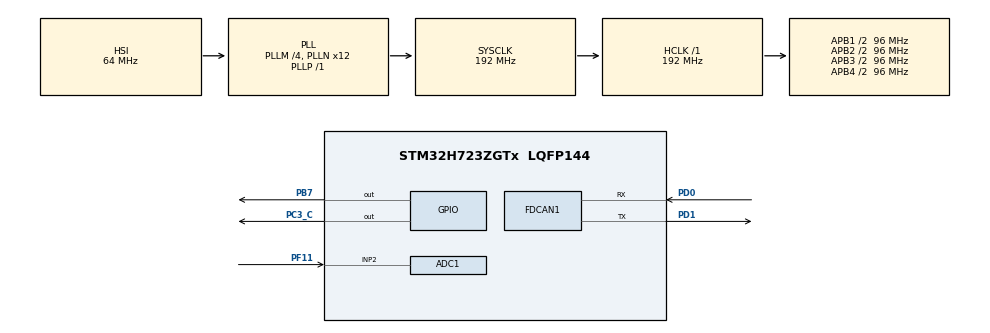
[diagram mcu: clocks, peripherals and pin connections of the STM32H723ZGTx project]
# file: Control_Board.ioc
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ADC1.Channel-0\#ChannelRegularConversion=ADC_CHANNEL_2
ADC1.NbrOfConversionFlag=1
ADC1.OffsetNumber-0\#ChannelRegularConversion=ADC_OFFSET_NONE
ADC1.OffsetSignedSaturation-0\#ChannelRegularConversion=DISABLE
ADC1.Rank-0\#ChannelRegularConversion=1
ADC1.SamplingTime-0\#ChannelRegularConversion=ADC_SAMPLETIME_64CYCLES_5
ADC1.master=1
CORTEX_M7.default_mode_Activation=1
FDCAN1.AutoRetransmission=ENABLE
FDCAN1.CalculateBaudRateNominal=250000
FDCAN1.CalculateTimeBitNominal=4000
FDCAN1.CalculateTimeQuantumNominal=166.66666666666666
FDCAN1.Mode=FDCAN_MODE_INTERNAL_LOOPBACK
FDCAN1.NominalTimeSeg1=20
FDCAN1.NominalTimeSeg2=3
FDCAN1.RxFifo0ElmtsNbr=6
FDCAN1.RxFifo1ElmtsNbr=6
FDCAN1.StdFiltersNbr=2
FDCAN1.TxFifoQueueElmtsNbr=32
FREERTOS.Queues01=CANRxQueue,16,CANRxMessage,0,Dynamic,NULL,NULL;DisplayDataQueue,16,CANRxMessage,0,Dynamic,NULL,NULL;processCAN,16,CANRxMessage,0,Dynamic,NULL,NULL
FREERTOS.Tasks01=PedalControl,41,128,ControlPedal,Default,NULL,Dynamic,NULL,NULL;CANWatchdog,41,128,StartCANWatchdog,Default,NULL,Dynamic,NULL,NULL;APPSCalibration,24,128,StartAPPSCalibration,Default,NULL,Dynamic,NULL,NULL;TestCANSend,24,128,StartTestCANSend,Default,NULL,Dynamic,NULL,NULL;DataDisplay,16,128,StartDataDisplay,Default,NULL,Dynamic,NULL,NULL;Commands,16,128,StartCommands,Default,NULL,Dynamic,NULL,NULL;readCANRX,16,128,StartReadingCANRX,Default,NULL,Dynamic,NULL,NULL;pedalErrorCheck,40,128,StartPedalErrorCheck,Default,NULL,Dynamic,NULL,NULL
FREERTOS.configUSE_NEWLIB_REENTRANT=1
Mcu.Family=STM32H7
Mcu.Name=STM32H723ZGTx
Mcu.Package=LQFP144
NUCLEO-H723ZG.LD1=true
NUCLEO-H723ZG.LD2=true
NUCLEO-H723ZG.LD3=true
NUCLEO-H723ZG.VCP=true
NVIC.FDCAN1_IT0_IRQn=true\:5\:0\:false\:false\:true\:true\:true\:true\:true
NVIC.FDCAN1_IT1_IRQn=true\:5\:0\:false\:false\:true\:true\:true\:true\:true
NVIC.PriorityGroup=NVIC_PRIORITYGROUP_4
NVIC.TIM6_DAC_IRQn=true\:15\:0\:false\:false\:true\:false\:false\:true\:true
NVIC.TimeBase=TIM6_DAC_IRQn
NVIC.TimeBaseIP=TIM6
PA13(JTMS/SWDIO).GPIO_Label=SWDIO
PA13(JTMS/SWDIO).Signal=DEBUG_JTMS-SWDIO
PA14(JTCK/SWCLK).GPIO_Label=SWCLK
PA14(JTCK/SWCLK).Signal=DEBUG_JTCK-SWCLK
PB7.Signal=GPIO_Output
PC14-OSC32_IN.Signal=RCC_OSC32_IN
PC15-OSC32_OUT.Signal=RCC_OSC32_OUT
PC3_C.Signal=GPIO_Output
PD0.GPIO_Mode=GPIO_MODE_AF_PP
PD0.GPIO_PuPd=GPIO_NOPULL
PD0.GPIO_Speed=GPIO_SPEED_FREQ_MEDIUM
PD0.Mode=FDCAN_Activate
PD0.Signal=FDCAN1_RX
PD1.GPIO_Speed=GPIO_SPEED_FREQ_MEDIUM
PD1.Mode=FDCAN_Activate
PD1.Signal=FDCAN1_TX
PF11.Mode=IN2-Single-Ended
PF11.Signal=ADC1_INP2
ProjectManager.HeapSize=0x200
ProjectManager.StackSize=0x400
ProjectManager.TargetToolchain=STM32CubeIDE
RCC.ADCFreq_Value=96000000
RCC.APB1Freq_Value=96000000
RCC.APB2Freq_Value=96000000
RCC.APB3Freq_Value=96000000
RCC.APB4Freq_Value=96000000
RCC.CortexFreq_Value=192000000
RCC.D1PPRE=RCC_APB3_DIV2
RCC.D2PPRE1=RCC_APB1_DIV2
RCC.D2PPRE2=RCC_APB2_DIV2
RCC.D3PPRE=RCC_APB4_DIV2
RCC.DIVM1=4
RCC.DIVM2=4
RCC.DIVN1=12
RCC.DIVN2=12
RCC.DIVP1=1
RCC.HCLKFreq_Value=192000000
RCC.HSE_VALUE=8000000
RCC.PLL2FRACN=0
RCC.PLLFRACN=0
RCC.SYSCLKFreq_VALUE=192000000
RCC.SYSCLKSource=RCC_SYSCLKSOURCE_PLLCLK
RCC.USBCLockSelection=RCC_USBCLKSOURCE_HSI48
RCC.USBFreq_Value=48000000
VP_FREERTOS_VS_CMSIS_V2.Mode=CMSIS_V2
VP_MEMORYMAP_VS_MEMORYMAP.Mode=CurAppReg
VP_NUCLEO-H723ZG_VS_BSP_COMMON.Mode=COMMON
VP_SYS_VS_tim6.Mode=TIM6
board=NUCLEO-H723ZG

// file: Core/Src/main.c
/* USER CODE BEGIN Header */
/**
  ******************************************************************************
  * @file           : main.c
  * @brief          : Main program body
  ******************************************************************************
  * @attention
  *
  * Copyright (c) 2026 STMicroelectronics.
  * All rights reserved.
  *
  * This software is licensed under terms that can be found in the LICENSE file
  * in the root directory of this software component.
  * If no LICENSE file comes with this software, it is provided AS-IS.
  *
  ******************************************************************************
  */
/* USER CODE END Header */
#include "main.h"
#include "FreeRTOS.h"
#include "cmsis_os2.h"

/* USER CODE BEGIN Includes */

#include <stdio.h>
#include <string.h>
#include <ctype.h>
#include <stdlib.h>

/* USER CODE END Includes */

/* USER CODE BEGIN PD */

//#define DISPLAY_CAN_MESSAGE 1			// Turn this on/off if you want to print/ignore raw CAN Messages
//#define DISPLAY_CAN_ERRORS 1			// Turn this on/off if you want to print/ignore CAN Errors

// Pedal Calibration Inversion Constants
#define  InvertAnalogOnePedal 0 // Swap the max and min pedal voltages on analog line one
#define  InvertAnalogTwoPedal 0 // Swap the max and min pedal voltages on analog line two

/*
 * Two-board CAN bench test.
 * Build once with role CONTROLLER for STM #1, then change to DUMMY for STM #2.
 * Set CAN_BENCH_TEST to 0 to restore the original production task startup.
 */
#define CAN_BENCH_TEST              1
#define CAN_BENCH_ROLE_CONTROLLER   1
#define CAN_BENCH_ROLE_DUMMY        2
#define CAN_BENCH_ROLE              CAN_BENCH_ROLE_CONTROLLER

#define CAN_BENCH_UART_LINE_SIZE    32U
#define CAN_BENCH_TX_TIMEOUT_MS     100U
#define CAN_BENCH_RX_TIMEOUT_MS     1000U

#if CAN_BENCH_TEST && \
    (CAN_BENCH_ROLE != CAN_BENCH_ROLE_CONTROLLER) && \
    (CAN_BENCH_ROLE != CAN_BENCH_ROLE_DUMMY)
#error "Invalid CAN_BENCH_ROLE. Use CONTROLLER or DUMMY."
#endif

/* USER CODE END PD */

COM_InitTypeDef BspCOMInit;
ADC_HandleTypeDef hadc1;

FDCAN_HandleTypeDef hfdcan1;

/* Definitions for PedalControl */
osThreadId_t PedalControlHandle;
const osThreadAttr_t PedalControl_attributes = {
  .name = "PedalControl",
  .stack_size = 128 * 4,
  .priority = (osPriority_t) osPriorityNormal,
};
/* Definitions for CANWatchdog */
osThreadId_t CANWatchdogHandle;
const osThreadAttr_t CANWatchdog_attributes = {
  .name = "CANWatchdog",
  .stack_size = 128 * 4,
  .priority = (osPriority_t) osPriorityNormal,
};
/* Definitions for APPSCalibration */
osThreadId_t APPSCalibrationHandle;
const osThreadAttr_t APPSCalibration_attributes = {
  .name = "APPSCalibration",
  .stack_size = 128 * 4,
  .priority = (osPriority_t) osPriorityBelowNormal,
};
/* Definitions for TestCANSend */
osThreadId_t TestCANSendHandle;
const osThreadAttr_t TestCANSend_attributes = {
  .name = "TestCANSend",
  .stack_size = 128 * 4,
  .priority = (osPriority_t) osPriorityNormal,
};
/* Definitions for DataDisplay */
osThreadId_t DataDisplayHandle;
const osThreadAttr_t DataDisplay_attributes = {
  .name = "DataDisplay",
  .stack_size = 128 * 4,
  .priority = (osPriority_t) osPriorityBelowNormal,
};
/* Definitions for Commands */
osThreadId_t CommandsHandle;
const osThreadAttr_t Commands_attributes = {
  .name = "Commands",
  .stack_size = 128 * 4,
  .priority = (osPriority_t) osPriorityBelowNormal,
};
/* Definitions for readCANRX */
osThreadId_t readCANRXHandle;
const osThreadAttr_t readCANRX_attributes = {
  .name = "readCANRX",
  .stack_size = 128 * 4,
  .priority = (osPriority_t) osPriorityBelowNormal,
};

/* Definitions for CANRxQueue */
osMessageQueueId_t CANRxQueueHandle;
const osMessageQueueAttr_t CANRxQueue_attributes = {
  .name = "CANRxQueue"
};
/* Definitions for DisplayDataQueue */
osMessageQueueId_t DisplayDataQueueHandle;
const osMessageQueueAttr_t DisplayDataQueue_attributes = {
  .name = "DisplayDataQueue"
};
/* Definitions for processCAN */
osMessageQueueId_t processCANHandle;
const osMessageQueueAttr_t processCAN_attributes = {
  .name = "processCAN"
};
/* USER CODE BEGIN PV */

uint8_t DISPLAY_CAN_MESSAGE = 1;			// Turn this on/off if you want to print/ignore raw CAN Messages
const osThreadAttr_t CANBench_attributes = {
  .name = "CANBench",
  .stack_size = 1024 * 4,
  .priority = (osPriority_t) osPriorityNormal,
};

uint8_t DISPLAY_CAN_ERRORS = 1;			// Turn this on/off if you want to print/ignore CAN Errors

///////////////////////////////////////////////////////////////////////////////////////////////
//////////////////////////////////// CAN Bus /////////////////////////////////////////////////
/////////////////////////////////////////////////////////////////////////////////////////////

HAL_StatusTypeDef status;
HAL_StatusTypeDef status2;
HAL_StatusTypeDef status3;
uint32_t txFreeLevel; // Space in TX FIFO left
uint32_t fdcanError;

// global var used by many rtos tasks
// risk of race condition
FDCAN_TxHeaderTypeDef TxHeader; // Header containing the information of the transmitted frame
FDCAN_RxHeaderTypeDef RxHeader; // Header containing the information of the received frame

uint8_t TxData[8] = {0}; // Buffer of the data to send (8 bytes data)
uint8_t WatchDogTxData[8] = {9}; // Random Buffer data to simulate messages for Watchdog
uint8_t RxData[8]; // Buffer of the received data (8 bytes data)
uint32_t TxMailbox; // The number of the email box that transmitted the Tx message

uint8_t serialByte; // Rx buffer for data received via USART3/terminal

#if CAN_BENCH_TEST
static char benchUartLine[CAN_BENCH_UART_LINE_SIZE];
static volatile uint8_t benchUartLineIndex = 0;
static volatile uint8_t benchUartLineReady = 0;
static volatile uint8_t benchUartLineOverflow = 0;

typedef enum
{
    BENCH_MODE_NO_MESSAGE = 0,
    BENCH_MODE_NEUTRAL,
    BENCH_MODE_THROTTLE,
    BENCH_MODE_REGEN
} BenchMode;

static volatile BenchMode benchDummyMode = BENCH_MODE_NO_MESSAGE;
static volatile uint16_t benchDummyCommand = 0;
static volatile uint16_t benchDummyLastRxId = 0;
static volatile uint32_t benchDummyLastRxTick = 0;
static volatile uint32_t benchDummyRxCount = 0;
#endif

///////////////////////////////////////////////////////////////////////////////////////////////
//////////////////////////////////// Motor Controller ////////////////////////////////////////
/////////////////////////////////////////////////////////////////////////////////////////////

const uint8_t MC_NodeId = 0x3a; // Node ID of the MC = 58

// MC commands
const uint16_t CMD_SetRelativeCurrent = ((0x05 << 5) + MC_NodeId); // Set relative AC current message ID
const uint16_t CMD_SetRelativeBrakeCurrent = ((0x06 << 5) + MC_NodeId);  // Set relative AC brake current message ID
const uint16_t CMD_SetMaxAcCurrent = ((0x06 << 5) + MC_NodeId); // Set max AC current limit message ID
const uint16_t CMD_SetMaxBrakeCurrent = ((0x09 << 5) + MC_NodeId); // Set max AC brake current limit message ID
const uint16_t CMD_SetMaxDcCurrent = ((0x0A << 5) + MC_NodeId); // Set max DC current limit message ID
const uint16_t CMD_SetMaxDcBrakeCurrent = ((0x0B << 5) + MC_NodeId); // Set max DC brake current limit message ID

// Data from MC
const uint16_t RCV_MC_GeneralData = ((0x1F << 5) + MC_NodeId); // Using | instead of + wouldn't work here bc there would be overlap between the node ID and the packet ID

// AMS Limits
uint16_t DischargeCurrentLimit = 30; // AMS discharge current limit
uint16_t ChargeCurrentLimit = 20; // AMS charge current limit

// Pedal Calibration Constants
float MaxPedalVoltage[2] = {3.3, 3.3}; // Max voltages on both analog lines for the pedal input
float MinPedalVoltage[2] = {0.5, 0.5}; // Min voltages on both analog lines for the pedal input
float CenterPedalVoltage[2] = {2.0, 2.0}; // Center voltages on both analog lines for the pedal input. This voltage corresponds position in which braking/throttle is swapped

float PedalDeadband = 0.15; // Percent deadband of pedal

uint32_t lastThrottleOrBrake = 0; // Gets the time at which a throttle or break CAN message is sent

float testPedalVoltage = 2.5; // temporary test before circuit test implemented
float inputPedalVoltage = 0; // voltage that the APPS is outputting to the STM
char msg[20];
char CANBuffer[100]; // Buffer used to display CAN messages on terminal
uint16_t CalculatedValue; // The value to be sent over to the MC over CAN

///////////////////////////////////////////////////////////////////////////////////////////////
////////////////////////////////////CAN Watchdog /////////////////////////////////////////////
/////////////////////////////////////////////////////////////////////////////////////////////

// Initializes variables to be used to check when the last respective message was sent
// uint32_t lastHeartBeatMessage = 0;
 uint32_t lastTemMessage = 0;
 uint32_t lastAmsMessage = 0;
 uint32_t lastMcMessage = 0;
 uint32_t lastChargerMessage = 0;

 uint8_t temSeen = 0;
 uint8_t amsSeen = 0;
 uint8_t mcSeen = 0;
 uint8_t chargerSeen = 0;

// uint32_t lastMessage = 0;

 // Initializes flags to indicate when a certain ECU hasn't sent a message in 500ms, timing out
// uint8_t heartBeatError = 0;
 uint8_t temError = 0;
 uint8_t amsError = 0;
 uint8_t mcError = 0;
 uint8_t chargerError = 0;

 // Creates int to determine if we are charging or not
 uint8_t isCharging = 0;

///////////////////////////////////////////////////////////////////////////////////////////////
/////////////////////////////////// Message Display //////////////////////////////////////////
/////////////////////////////////////////////////////////////////////////////////////////////

// Toggle between displaying all or select CAN messages
uint8_t toggleCANRx = 0; // 0 = display all messages, 1 = display select messages
uint8_t packet;

///////////////////////////////////////////////////////////////////////////////////////////////
/////////////////////////////////// Queue Debugging //////////////////////////////////////////
/////////////////////////////////////////////////////////////////////////////////////////////

 uint32_t queueCount; // Amount of items in queue
 uint32_t queueSpace; // Amount of available space left in queue
 osStatus_t queueStatus; // Execution status of the queue

/* USER CODE END PV */

void SystemClock_Config(void);
static void MPU_Config(void);
static void MX_GPIO_Init(void);
static void MX_ADC1_Init(void);
static void MX_FDCAN1_Init(void);
void ControlPedal(void *argument);
void StartCANWatchdog(void *argument);
void StartAPPSCalibration(void *argument);
void StartTestCANSend(void *argument);
void StartDataDisplay(void *argument);
void StartCommands(void *argument);
void StartReadingCANRX(void *argument);

/* USER CODE BEGIN PFP */
void StartCANBenchController(void *argument);
void StartCANBenchDummy(void *argument);

// Prototype for CAN Transmission
HAL_StatusTypeDef CAN_Send(uint32_t id, uint8_t *data, uint32_t length);

// Prototype to see if a certain message hasn't been seen in over 500ms
uint8_t lastMessageSent(uint32_t lastMessage);

/* USER CODE END PFP */

/* USER CODE BEGIN 0 */

typedef struct
{
	uint32_t id;
	uint32_t idType;
	uint32_t dataLength;
	uint8_t data[8];

} CANRxMessage;

CANRxMessage queueBufferMessage; // Data being stored in the queue
CANRxMessage queueBufferRecieved; // Data being read from the queue

// System states
typedef enum
{
	PEDAL_CALIBRATION, // Assigned 0
	MOTOR_SPINNING, // Assigned 1
	WATCHDOG_FAULTED // Assigned 2
} State;

volatile State currentState = WATCHDOG_FAULTED; // init at fault on new boot, changed when safety conditions are met

/*  More realistic states for future implementation

typedef enum
{
  STATE_INIT,
  STATE_WAITING_FOR_ECUS,
  STATE_READY,
  STATE_RUNNING,
  STATE_APPS_CALIBRATION,
  STATE_CHARGING,
  STATE_FAULT
} SystemState;

SystemState currentState = STATE_INIT;

// helper function to change state for consistency
void setSysState(SystemState newState){
  currentState = newState;
}

*/

/* USER CODE END 0 */

int main(void)
{

  /* USER CODE BEGIN 1 */

//	HAL_Delay(30000); // Delay for when the car starts up

  /* USER CODE END 1 */

  /* MPU Configuration--------------------------------------------------------*/
  MPU_Config();

  /* MCU Configuration--------------------------------------------------------*/

  /* Reset of all peripherals, Initializes the Flash interface and the Systick. */
  HAL_Init();

  /* Configure the system clock */
  SystemClock_Config();

  /* Initialize all configured peripherals */
  MX_GPIO_Init();
  MX_ADC1_Init();
  MX_FDCAN1_Init();
  /* USER CODE BEGIN 2 */

  HAL_NVIC_SetPriority(USART3_IRQn, 5, 0); // Configures interrupt priority for USART3
  HAL_NVIC_EnableIRQ(USART3_IRQn); // Enables the USART interrupt through NVIC

  /* USER CODE END 2 */

  /* Init scheduler */
  osKernelInitialize();

  /* Create the queue(s) */
  /* creation of CANRxQueue */
  CANRxQueueHandle = osMessageQueueNew (16, sizeof(CANRxMessage), &CANRxQueue_attributes);

  /* creation of DisplayDataQueue */
  DisplayDataQueueHandle = osMessageQueueNew (16, sizeof(CANRxMessage), &DisplayDataQueue_attributes);

  /* creation of processCAN */
  processCANHandle = osMessageQueueNew (16, sizeof(CANRxMessage), &processCAN_attributes);

  /* Create the thread(s) */
#if CAN_BENCH_TEST
  if (CAN_BENCH_ROLE == CAN_BENCH_ROLE_CONTROLLER)
  {
    osThreadNew(StartCANBenchController, NULL, &CANBench_attributes);
  }
  else
  {
    osThreadNew(StartCANBenchDummy, NULL, &CANBench_attributes);
  }
#else
  /* Original production tasks */
  PedalControlHandle = osThreadNew(ControlPedal, NULL, &PedalControl_attributes);
  CANWatchdogHandle = osThreadNew(StartCANWatchdog, NULL, &CANWatchdog_attributes);
  APPSCalibrationHandle = osThreadNew(StartAPPSCalibration, NULL, &APPSCalibration_attributes);
  TestCANSendHandle = osThreadNew(StartTestCANSend, NULL, &TestCANSend_attributes);
  DataDisplayHandle = osThreadNew(StartDataDisplay, NULL, &DataDisplay_attributes);
  CommandsHandle = osThreadNew(StartCommands, NULL, &Commands_attributes);
  readCANRXHandle = osThreadNew(StartReadingCANRX, NULL, &readCANRX_attributes);
#endif

  /* Initialize leds */
  BSP_LED_Init(LED_GREEN);
  BSP_LED_Init(LED_YELLOW);
  BSP_LED_Init(LED_RED);

  /* Initialize COM1 port (115200, 8 bits (7-bit data + 1 stop bit), no parity */
  BspCOMInit.BaudRate   = 115200;
  BspCOMInit.WordLength = COM_WORDLENGTH_8B;
  BspCOMInit.StopBits   = COM_STOPBITS_1;
  BspCOMInit.Parity     = COM_PARITY_NONE;
  BspCOMInit.HwFlowCtl  = COM_HWCONTROL_NONE;
  if (BSP_COM_Init(COM1, &BspCOMInit) != BSP_ERROR_NONE)
  {
    Error_Handler();
  }

#if CAN_BENCH_TEST && (CAN_BENCH_ROLE == CAN_BENCH_ROLE_CONTROLLER)
  if (HAL_UART_Receive_IT(&hcom_uart[COM1], &serialByte, 1) != HAL_OK)
  {
    Error_Handler();
  }
#endif

  /* Start scheduler */
  osKernelStart();

  /* We should never get here as control is now taken by the scheduler */

  /* Infinite loop */
  while (1)
  {

  }
}

void SystemClock_Config(void)
{
  RCC_OscInitTypeDef RCC_OscInitStruct = {0};
  RCC_ClkInitTypeDef RCC_ClkInitStruct = {0};

  /** Supply configuration update enable
  */
  HAL_PWREx_ConfigSupply(PWR_LDO_SUPPLY);

  /** Configure the main internal regulator output voltage
  */
  __HAL_PWR_VOLTAGESCALING_CONFIG(PWR_REGULATOR_VOLTAGE_SCALE1);

  while(!__HAL_PWR_GET_FLAG(PWR_FLAG_VOSRDY)) {}

  /** Initializes the RCC Oscillators according to the specified parameters
  * in the RCC_OscInitTypeDef structure.
  */
  RCC_OscInitStruct.OscillatorType = RCC_OSCILLATORTYPE_HSI;
  RCC_OscInitStruct.HSIState = RCC_HSI_DIV1;
  RCC_OscInitStruct.HSICalibrationValue = 64;
  RCC_OscInitStruct.PLL.PLLState = RCC_PLL_ON;
  RCC_OscInitStruct.PLL.PLLSource = RCC_PLLSOURCE_HSI;
  RCC_OscInitStruct.PLL.PLLM = 4;
  RCC_OscInitStruct.PLL.PLLN = 12;
  RCC_OscInitStruct.PLL.PLLP = 1;
  RCC_OscInitStruct.PLL.PLLQ = 2;
  RCC_OscInitStruct.PLL.PLLR = 2;
  RCC_OscInitStruct.PLL.PLLRGE = RCC_PLL1VCIRANGE_3;
  RCC_OscInitStruct.PLL.PLLVCOSEL = RCC_PLL1VCOWIDE;
  RCC_OscInitStruct.PLL.PLLFRACN = 0;
  if (HAL_RCC_OscConfig(&RCC_OscInitStruct) != HAL_OK)
  {
    Error_Handler();
  }

  /** Initializes the CPU, AHB and APB buses clocks
  */
  RCC_ClkInitStruct.ClockType = RCC_CLOCKTYPE_HCLK|RCC_CLOCKTYPE_SYSCLK
                              |RCC_CLOCKTYPE_PCLK1|RCC_CLOCKTYPE_PCLK2
                              |RCC_CLOCKTYPE_D3PCLK1|RCC_CLOCKTYPE_D1PCLK1;
  RCC_ClkInitStruct.SYSCLKSource = RCC_SYSCLKSOURCE_PLLCLK;
  RCC_ClkInitStruct.SYSCLKDivider = RCC_SYSCLK_DIV1;
  RCC_ClkInitStruct.AHBCLKDivider = RCC_HCLK_DIV1;
  RCC_ClkInitStruct.APB3CLKDivider = RCC_APB3_DIV2;
  RCC_ClkInitStruct.APB1CLKDivider = RCC_APB1_DIV2;
  RCC_ClkInitStruct.APB2CLKDivider = RCC_APB2_DIV2;
  RCC_ClkInitStruct.APB4CLKDivider = RCC_APB4_DIV2;

  if (HAL_RCC_ClockConfig(&RCC_ClkInitStruct, FLASH_LATENCY_2) != HAL_OK)
  {
    Error_Handler();
  }
}

static void MX_ADC1_Init(void)
{

  ADC_MultiModeTypeDef multimode = {0};
  ADC_ChannelConfTypeDef sConfig = {0};

  /** Common config
  */
  hadc1.Instance = ADC1;
  hadc1.Init.ClockPrescaler = ADC_CLOCK_ASYNC_DIV1;
  hadc1.Init.Resolution = ADC_RESOLUTION_16B;
  hadc1.Init.ScanConvMode = ADC_SCAN_DISABLE;
  hadc1.Init.EOCSelection = ADC_EOC_SINGLE_CONV;
  hadc1.Init.LowPowerAutoWait = DISABLE;
  hadc1.Init.ContinuousConvMode = DISABLE;
  hadc1.Init.NbrOfConversion = 1;
  hadc1.Init.DiscontinuousConvMode = DISABLE;
  hadc1.Init.ExternalTrigConv = ADC_SOFTWARE_START;
  hadc1.Init.ExternalTrigConvEdge = ADC_EXTERNALTRIGCONVEDGE_NONE;
  hadc1.Init.ConversionDataManagement = ADC_CONVERSIONDATA_DR;
  hadc1.Init.Overrun = ADC_OVR_DATA_PRESERVED;
  hadc1.Init.LeftBitShift = ADC_LEFTBITSHIFT_NONE;
  hadc1.Init.OversamplingMode = DISABLE;
  hadc1.Init.Oversampling.Ratio = 1;
  if (HAL_ADC_Init(&hadc1) != HAL_OK)
  {
    Error_Handler();
  }

  /** Configure the ADC multi-mode
  */
  multimode.Mode = ADC_MODE_INDEPENDENT;
  if (HAL_ADCEx_MultiModeConfigChannel(&hadc1, &multimode) != HAL_OK)
  {
    Error_Handler();
  }

  /** Configure Regular Channel
  */
  sConfig.Channel = ADC_CHANNEL_2;
  sConfig.Rank = ADC_REGULAR_RANK_1;
  sConfig.SamplingTime = ADC_SAMPLETIME_64CYCLES_5;
  sConfig.SingleDiff = ADC_SINGLE_ENDED;
  sConfig.OffsetNumber = ADC_OFFSET_NONE;
  sConfig.Offset = 0;
  sConfig.OffsetSignedSaturation = DISABLE;
  if (HAL_ADC_ConfigChannel(&hadc1, &sConfig) != HAL_OK)
  {
    Error_Handler();
  }

}

static void MX_FDCAN1_Init(void)
{

  /* USER CODE BEGIN FDCAN1_Init 0 */

	FDCAN_FilterTypeDef filter = {0}; // Declares filter

  /* USER CODE END FDCAN1_Init 0 */

  hfdcan1.Instance = FDCAN1;
  hfdcan1.Init.FrameFormat = FDCAN_FRAME_CLASSIC;
  hfdcan1.Init.Mode = FDCAN_MODE_NORMAL;
  hfdcan1.Init.AutoRetransmission = ENABLE;
  hfdcan1.Init.TransmitPause = DISABLE;
  hfdcan1.Init.ProtocolException = DISABLE;
  hfdcan1.Init.NominalPrescaler = 16;
  hfdcan1.Init.NominalSyncJumpWidth = 1;
  hfdcan1.Init.NominalTimeSeg1 = 20;
  hfdcan1.Init.NominalTimeSeg2 = 3;
  hfdcan1.Init.DataPrescaler = 1;
  hfdcan1.Init.DataSyncJumpWidth = 1;
  hfdcan1.Init.DataTimeSeg1 = 1;
  hfdcan1.Init.DataTimeSeg2 = 1;
  hfdcan1.Init.MessageRAMOffset = 0;
  hfdcan1.Init.StdFiltersNbr = 2;
  hfdcan1.Init.ExtFiltersNbr = 0;
  hfdcan1.Init.RxFifo0ElmtsNbr = 6;
  hfdcan1.Init.RxFifo0ElmtSize = FDCAN_DATA_BYTES_8;
  hfdcan1.Init.RxFifo1ElmtsNbr = 6;
  hfdcan1.Init.RxFifo1ElmtSize = FDCAN_DATA_BYTES_8;
  hfdcan1.Init.RxBuffersNbr = 0;
  hfdcan1.Init.RxBufferSize = FDCAN_DATA_BYTES_8;
  hfdcan1.Init.TxEventsNbr = 0;
  hfdcan1.Init.TxBuffersNbr = 0;
  hfdcan1.Init.TxFifoQueueElmtsNbr = 6;
  hfdcan1.Init.TxFifoQueueMode = FDCAN_TX_FIFO_OPERATION;
  hfdcan1.Init.TxElmtSize = FDCAN_DATA_BYTES_8;
  if (HAL_FDCAN_Init(&hfdcan1) != HAL_OK)
  {
    Error_Handler();
  }
  /* USER CODE BEGIN FDCAN1_Init 2 */

  // Sets up filters for CAN messages;
  // Filter One
  // Allows all messages to pass

	  filter.IdType = FDCAN_STANDARD_ID;          // Apply this filter to 11-bit Standard IDs
	  filter.FilterIndex = 0;                     // First slot in the filter list (0 to 27)
	  filter.FilterType = FDCAN_FILTER_MASK;      // Classic ID + Mask mode (replaces CAN_FILTERMODE_IDMASK)
	  filter.FilterConfig = FDCAN_FILTER_TO_RXFIFO0; // Route matching packets directly to FIFO0
	  filter.FilterID1 = 0x0000;                  // Base ID to match (accept all if 0)
	  filter.FilterID2 = 0x0000;                  // Mask value (0x0000 means "don't care", accepting all packets)

      if (HAL_FDCAN_ConfigFilter(&hfdcan1, &filter) != HAL_OK) // checks to see if filter is configured correctly
      {
    	  // Filter configuration error
    	  Error_Handler();
      }

  // Filter Two
  // Allows only MC messages to pass

//	  filter.IdType = FDCAN_STANDARD_ID;          // Apply this filter to 11-bit Standard IDs
//	  filter.FilterIndex = 1;                     // Second slot in the filter list (0 to 27)
//	  filter.FilterType = FDCAN_FILTER_MASK;      // Classic ID + Mask mode (replaces CAN_FILTERMODE_IDMASK)
//	  filter.FilterConfig = FDCAN_FILTER_TO_RXFIFO1; // Route matching packets directly to FIFO1
//	  filter.FilterID1 = MC_NodeId;                  // Only allows MC node IDs to pass
//	  filter.FilterID2 = 0x0FF;                  // Matches the lower 8 bits to find the MC_NodeId

//	  if (HAL_FDCAN_ConfigFilter(&hfdcan1, &filter) != HAL_OK) // checks to see if filter is configured correctly
//      {
//    	  // Filter configuration error
//    	  Error_Handler();
//      }

      // Starts CAN peripheral if filter config is good
      if (HAL_FDCAN_Start(&hfdcan1) != HAL_OK) // Tries to start CAN and checks for error
      {
    	  Error_Handler();
      }

      // Activate CAN RX notifications on FIFO0
      if (HAL_FDCAN_ActivateNotification(&hfdcan1, FDCAN_IT_RX_FIFO0_NEW_MESSAGE, 0) != HAL_OK) // 0 means it only focuses on Rx interrupts
      {
    	  Error_Handler();
      }

      // Activate CAN RX notifications on FIFO1
//      if (HAL_FDCAN_ActivateNotification(&hfdcan1, FDCAN_IT_RX_FIFO1_NEW_MESSAGE, 0) != HAL_OK) // 0 means it only focuses on Rx interrupts
//      {
//    	  Error_Handler();
//      }

      TxData[0] = 0;
      TxData[7] = 0xFF;

  /* USER CODE END FDCAN1_Init 2 */

}

static void MX_GPIO_Init(void)
{
  GPIO_InitTypeDef GPIO_InitStruct = {0};

  /* GPIO Ports Clock Enable */
  __HAL_RCC_GPIOC_CLK_ENABLE();
  __HAL_RCC_GPIOF_CLK_ENABLE();
  __HAL_RCC_GPIOA_CLK_ENABLE();
  __HAL_RCC_GPIOB_CLK_ENABLE();

  /*Configure GPIO pin Output Level */
  HAL_GPIO_WritePin(GPIOC, GPIO_PIN_3, GPIO_PIN_RESET);

  /*Configure GPIO pin Output Level */
  HAL_GPIO_WritePin(GPIOB, GPIO_PIN_7, GPIO_PIN_RESET);

  /*Configure GPIO pin : PC3 */
  GPIO_InitStruct.Pin = GPIO_PIN_3;
  GPIO_InitStruct.Mode = GPIO_MODE_OUTPUT_PP;
  GPIO_InitStruct.Pull = GPIO_NOPULL;
  GPIO_InitStruct.Speed = GPIO_SPEED_FREQ_LOW;
  HAL_GPIO_Init(GPIOC, &GPIO_InitStruct);

  /*Configure GPIO pin : PB7 */
  GPIO_InitStruct.Pin = GPIO_PIN_7;
  GPIO_InitStruct.Mode = GPIO_MODE_OUTPUT_PP;
  GPIO_InitStruct.Pull = GPIO_NOPULL;
  GPIO_InitStruct.Speed = GPIO_SPEED_FREQ_LOW;
  HAL_GPIO_Init(GPIOB, &GPIO_InitStruct);

  /*AnalogSwitch Config */
  HAL_SYSCFG_AnalogSwitchConfig(SYSCFG_SWITCH_PC3, SYSCFG_SWITCH_PC3_CLOSE);

}

/* USER CODE BEGIN 4 */

// UART receive callback. Keep this short: parsing and printf happen in the task.
void HAL_UART_RxCpltCallback(UART_HandleTypeDef *huart)
{
#if CAN_BENCH_TEST && (CAN_BENCH_ROLE == CAN_BENCH_ROLE_CONTROLLER)
    if (huart == &hcom_uart[COM1])
    {
        char c = (char)serialByte;

        if (!benchUartLineReady)
        {
            if (c == '\r' || c == '\n')
            {
                if (benchUartLineIndex > 0U || benchUartLineOverflow)
                {
                    benchUartLine[benchUartLineIndex] = '\0';
                    benchUartLineReady = 1U;
                }
            }
            else if (c == '\b' || c == 0x7F)
            {
                if (benchUartLineIndex > 0U)
                {
                    benchUartLineIndex--;
                }
            }
            else if (benchUartLineIndex < (CAN_BENCH_UART_LINE_SIZE - 1U))
            {
                benchUartLine[benchUartLineIndex++] = c;
            }
            else
            {
                benchUartLineOverflow = 1U;
            }
        }

        (void)HAL_UART_Receive_IT(&hcom_uart[COM1], &serialByte, 1U);
    }
#else
    if (huart == &hcom_uart[COM1])
    {
        printf("Received: %c\r\n", serialByte);
        (void)HAL_UART_Receive_IT(&hcom_uart[COM1], &serialByte, 1U);
    }
#endif
}

// Callback function for data received on FIFO0
void HAL_FDCAN_RxFifo0Callback(FDCAN_HandleTypeDef *hfdcan, uint32_t RxFifo0ITs)
{
    if (hfdcan != &hfdcan1 ||
        (RxFifo0ITs & FDCAN_IT_RX_FIFO0_NEW_MESSAGE) == RESET)
    {
        return;
    }

    if (HAL_FDCAN_GetRxMessage(hfdcan, FDCAN_RX_FIFO0, &RxHeader, RxData) != HAL_OK)
    {
        Error_Handler();
        return;
    }

#if CAN_BENCH_TEST && (CAN_BENCH_ROLE == CAN_BENCH_ROLE_DUMMY)
    /*
     * This source snapshot uses MC_NodeId = 0x3A:
     *   relative current       = 0x0DA
     *   relative brake current= 0x0FA
     * The first two payload bytes contain a 16-bit big-endian command.
     */
    if (RxHeader.IdType == FDCAN_STANDARD_ID &&
        RxHeader.DataLength == FDCAN_DLC_BYTES_8)
    {
        uint16_t value = ((uint16_t)RxData[0] << 8) | (uint16_t)RxData[1];
        uint32_t now = HAL_GetTick();

        if (RxHeader.Identifier == CMD_SetRelativeCurrent)
        {
            benchDummyCommand = value;
            benchDummyLastRxId = (uint16_t)RxHeader.Identifier;
            benchDummyMode = (value == 0U) ? BENCH_MODE_NEUTRAL : BENCH_MODE_THROTTLE;
            benchDummyLastRxTick = now;
            benchDummyRxCount++;
        }
        else if (RxHeader.Identifier == CMD_SetRelativeBrakeCurrent)
        {
            benchDummyCommand = value;
            benchDummyLastRxId = (uint16_t)RxHeader.Identifier;
            benchDummyMode = BENCH_MODE_REGEN;
            benchDummyLastRxTick = now;
            benchDummyRxCount++;
        }
    }
#else
    uint32_t now = HAL_GetTick();
    CANRxMessage CANmsg;
    CANmsg.id = RxHeader.Identifier;
    CANmsg.idType = RxHeader.IdType;
    CANmsg.dataLength = RxHeader.DataLength;
    memcpy(CANmsg.data, RxData, 8);

    switch (CANmsg.id)
    {
        case 0x080:
            lastTemMessage = now;
            temSeen = 1;
            break;

        case 0x7E3:
            lastAmsMessage = now;
            amsSeen = 1;

            if (CANmsg.data[0] == 0xFF)
            {
                isCharging = 1;
                if (DISPLAY_CAN_ERRORS && CANmsg.data[1] != 0x00)
                {
                    printf("AMS CAN Charging Message is Corrupt.\r\n");
                    fflush(stdout);
                }
            }
            else if (CANmsg.data[0] == 0x00)
            {
                isCharging = 0;
                if (DISPLAY_CAN_ERRORS && CANmsg.data[1] != 0xFF)
                {
                    printf("AMS CAN Charging Message is Corrupt.\r\n");
                    fflush(stdout);
                }
            }
            break;

        case 0x41A:
            lastMcMessage = now;
            mcSeen = 1;
            break;

        case 0x18FF50E5:
            lastChargerMessage = now;
            chargerSeen = 1;
            break;

        default:
            break;
    }

    (void)osMessageQueuePut(CANRxQueueHandle, &CANmsg, 0, 0);
    (void)osMessageQueuePut(processCANHandle, &CANmsg, 0, 0);
    (void)osMessageQueuePut(DisplayDataQueueHandle, &CANmsg, 0, 0);
#endif
}

// Callback function for data received on FIFO1
//void HAL_FDCAN_RxFifo1Callback(FDCAN_HandleTypeDef *hfdcan, uint32_t RxFifo1ITs)
//{
//
//	 if((RxFifo1ITs & FDCAN_IT_RX_FIFO1_NEW_MESSAGE) != RESET)
//	 {
//		 /* Retrieve Rx messages from RX FIFO1 */
//		 if (HAL_FDCAN_GetRxMessage(hfdcan, FDCAN_RX_FIFO1, &RxHeader, RxData) != HAL_OK)
//		 {
//			 // Reception Error; error thrown if the receive fails
//			 Error_Handler();
//		 }
//	 }
//
//	 CANRxMessage selectReadCAN;
//	 selectReadCAN.id = RxHeader.Identifier;
//	 selectReadCAN.idType = RxHeader.IdType;
//	 selectReadCAN.dataLength = RxHeader.DataLength;
//	 memcpy(selectReadCAN.data, RxData, 8); // Passes a copy of RxData to readCAN.data; '=' would not work here sine array assignment can't be done, plus it would become a pointer
//	 queueBufferMessage = selectReadCAN;
//
//	 // Uses queue for all CAN messages if CANRxToggle = 0
//	 if (toggleCANRx)
//	 {
//		 queueStatus = osMessageQueuePut(DisplayDataQueueHandle, &selectReadCAN, 0, 0); // Adds received CAN message to readCAN queue
//	 }
//
//}

// CAN Transmit Function
HAL_StatusTypeDef CAN_Send(uint32_t id, uint8_t *data, uint32_t length)
{
    FDCAN_TxHeaderTypeDef txHeader = {0};
    uint32_t startTick;

    if (data == NULL || length > 8U || id > 0x7FFU)
    {
        return HAL_ERROR;
    }

    txHeader.Identifier = id;
    txHeader.TxFrameType = FDCAN_DATA_FRAME;
    txHeader.IdType = FDCAN_STANDARD_ID;

    switch (length)
    {
        case 0: txHeader.DataLength = FDCAN_DLC_BYTES_0; break;
        case 1: txHeader.DataLength = FDCAN_DLC_BYTES_1; break;
        case 2: txHeader.DataLength = FDCAN_DLC_BYTES_2; break;
        case 3: txHeader.DataLength = FDCAN_DLC_BYTES_3; break;
        case 4: txHeader.DataLength = FDCAN_DLC_BYTES_4; break;
        case 5: txHeader.DataLength = FDCAN_DLC_BYTES_5; break;
        case 6: txHeader.DataLength = FDCAN_DLC_BYTES_6; break;
        case 7: txHeader.DataLength = FDCAN_DLC_BYTES_7; break;
        case 8: txHeader.DataLength = FDCAN_DLC_BYTES_8; break;
        default: return HAL_ERROR;
    }

    txHeader.FDFormat = FDCAN_CLASSIC_CAN;
    txHeader.BitRateSwitch = FDCAN_BRS_OFF;
    txHeader.ErrorStateIndicator = FDCAN_ESI_ACTIVE;
    txHeader.TxEventFifoControl = FDCAN_NO_TX_EVENTS;
    txHeader.MessageMarker = 0U;

    startTick = HAL_GetTick();
    while (HAL_FDCAN_GetTxFifoFreeLevel(&hfdcan1) == 0U)
    {
        if ((HAL_GetTick() - startTick) >= CAN_BENCH_TX_TIMEOUT_MS)
        {
            return HAL_TIMEOUT;
        }
        osDelay(1U);
    }

    return HAL_FDCAN_AddMessageToTxFifoQ(&hfdcan1, &txHeader, data);
}

// Function to check if a certain message was received over the last half second
uint8_t lastMessageSent(uint32_t lastMessage){
	if ((HAL_GetTick() - lastMessage) >= 500) { // 500ms = 0.5s
		return 1;
	}
	return 0;
}

#if CAN_BENCH_TEST

/*
 * STM #1 task: enter a simulated APPS voltage in the UART terminal.
 * STM #2 task: receive the matching MC command and display its mode on LEDs.
 */
void StartCANBenchController(void *argument)
{
    char line[CAN_BENCH_UART_LINE_SIZE];
    char *end;
    uint8_t lineOverflow;
    float voltage;
    uint32_t voltageMilli;
    uint16_t command;
    uint32_t canId;
    uint8_t payload[8];
    HAL_StatusTypeDef txStatus;

    (void)argument;

    printf("\r\nCAN bench controller ready.\r\n");
    printf("Enter pedal voltage from 0.50 to 3.30 V, then press Enter.\r\n");
    printf("Center voltage: 2.00 V\r\n");
    printf("\r\n> ");
    fflush(stdout);

    for (;;)
    {
        uint8_t haveLine = 0U;

        taskENTER_CRITICAL();
        if (benchUartLineReady)
        {
            memcpy(line, benchUartLine, sizeof(line));
            line[sizeof(line) - 1U] = '\0';
            lineOverflow = benchUartLineOverflow;
            benchUartLineReady = 0U;
            benchUartLineOverflow = 0U;
            benchUartLineIndex = 0U;
            benchUartLine[0] = '\0';
            haveLine = 1U;
        }
        taskEXIT_CRITICAL();

        if (haveLine)
        {
            if (lineOverflow)
            {
                printf("Input too long. Please enter a number only.\r\n");
            }
            else
            {
                voltage = strtof(line, &end);
                while (*end == ' ' || *end == '\t')
                {
                    end++;
                }

                if (end == line || *end != '\0' ||
                    voltage != voltage ||
                    voltage < MinPedalVoltage[0] ||
                    voltage > MaxPedalVoltage[0])
                {
                    printf("Invalid input. Enter a numeric voltage from 0.50 to 3.30 V.\r\n");
                }
                else
                {
                    memset(payload, 0, sizeof(payload));
                    voltageMilli = (uint32_t)(voltage * 1000.0f + 0.5f);

                    if (voltage > CenterPedalVoltage[0])
                    {
                        canId = CMD_SetRelativeCurrent;
                        command = (uint16_t)(
                            ((voltage - CenterPedalVoltage[0]) /
                             (MaxPedalVoltage[0] - CenterPedalVoltage[0])) * 1000.0f);

                        /* Preserve a nonzero mode marker just above center. */
                        if (command == 0U)
                        {
                            command = 1U;
                        }
                    }
                    else if (voltage < CenterPedalVoltage[0])
                    {
                        canId = CMD_SetRelativeBrakeCurrent;
                        command = (uint16_t)(
                            ((voltage - MinPedalVoltage[0]) /
                             (CenterPedalVoltage[0] - MinPedalVoltage[0])) * 1000.0f);
                    }
                    else
                    {
                        /* A zero-current command is used for neutral in this bench test. */
                        canId = CMD_SetRelativeCurrent;
                        command = 0U;
                    }

                    payload[0] = (uint8_t)((command >> 8) & 0xFFU);
                    payload[1] = (uint8_t)(command & 0xFFU);

                    txStatus = CAN_Send(canId, payload, 8U);

                    if (txStatus == HAL_OK)
                    {
                        printf("Input %lu.%03lu V | %s | CAN ID 0x%03lX | command %u | queued\r\n",
                               (unsigned long)(voltageMilli / 1000U),
                               (unsigned long)(voltageMilli % 1000U),
                               (voltage > CenterPedalVoltage[0]) ? "THROTTLE" :
                               (voltage < CenterPedalVoltage[0]) ? "REGEN" : "NEUTRAL",
                               (unsigned long)canId,
                               (unsigned int)command);
                    }
                    else
                    {
                        printf("CAN enqueue failed: status=%d, FDCAN error=0x%08lX\r\n",
                               (int)txStatus, (unsigned long)HAL_FDCAN_GetError(&hfdcan1));
                    }
                }
            }

            printf("> ");
            fflush(stdout);
        }

        osDelay(5U);
    }
}

void StartCANBenchDummy(void *argument)
{
    BenchMode mode;
    BenchMode previousMode = BENCH_MODE_NO_MESSAGE;
    uint16_t command;
    uint16_t lastRxId;
    uint32_t lastRxTick;
    uint32_t rxCount;
    uint32_t lastPrintedCount = 0U;
    uint32_t now;
    uint32_t blinkInterval;
    uint32_t lastToggle = 0U;
    uint8_t ledIsOn = 0U;

    (void)argument;

    printf("\r\nCAN bench dummy MC ready. Waiting for STM #1...\r\n");

    for (;;)
    {
        taskENTER_CRITICAL();
        mode = benchDummyMode;
        command = benchDummyCommand;
        lastRxId = benchDummyLastRxId;
        lastRxTick = benchDummyLastRxTick;
        rxCount = benchDummyRxCount;
        taskEXIT_CRITICAL();

        now = HAL_GetTick();

        if (rxCount != lastPrintedCount)
        {
            lastPrintedCount = rxCount;
            printf("RX %03X | count %lu | mode %u | command %u\r\n",
                   (unsigned int)lastRxId, (unsigned long)rxCount,
                   (unsigned int)mode, (unsigned int)command);
        }

        if (rxCount == 0U || (now - lastRxTick) > CAN_BENCH_RX_TIMEOUT_MS)
        {
            /* Solid red means no recent CAN command has been received. */
            BSP_LED_Off(LED_GREEN);
            BSP_LED_Off(LED_YELLOW);
            BSP_LED_On(LED_RED);
            previousMode = BENCH_MODE_NO_MESSAGE;
            ledIsOn = 1U;
        }
        else
        {
            if (mode != previousMode)
            {
                BSP_LED_Off(LED_GREEN);
                BSP_LED_Off(LED_YELLOW);
                BSP_LED_Off(LED_RED);
                ledIsOn = 0U;
                lastToggle = now;
                previousMode = mode;
            }

            if (mode == BENCH_MODE_NEUTRAL)
            {
                BSP_LED_Off(LED_GREEN);
                BSP_LED_Off(LED_RED);
                BSP_LED_On(LED_YELLOW);
            }
            else if (mode == BENCH_MODE_THROTTLE || mode == BENCH_MODE_REGEN)
            {
                /* A larger command gives a shorter blink interval. */
                uint32_t boundedCommand = (command > 1000U) ? 1000U : (uint32_t)command;
                blinkInterval = 500U - (boundedCommand * 400U / 1000U);
                if (blinkInterval < 100U)
                {
                    blinkInterval = 100U;
                }

                if ((now - lastToggle) >= blinkInterval)
                {
                    ledIsOn = !ledIsOn;
                    lastToggle = now;
                }

                if (mode == BENCH_MODE_THROTTLE)
                {
                    BSP_LED_Off(LED_RED);
                    BSP_LED_Off(LED_YELLOW);
                    if (ledIsOn) BSP_LED_On(LED_GREEN);
                    else BSP_LED_Off(LED_GREEN);
                }
                else
                {
                    BSP_LED_Off(LED_GREEN);
                    BSP_LED_Off(LED_YELLOW);
                    if (ledIsOn) BSP_LED_On(LED_RED);
                    else BSP_LED_Off(LED_RED);
                }
            }
        }

        osDelay(10U);
    }
}

#endif /* CAN_BENCH_TEST */

/* USER CODE END 4 */

void ControlPedal(void *argument)
{
  /* USER CODE BEGIN 5 */
  FDCAN_TxHeaderTypeDef pedalTxHeader = {0};

  pedalTxHeader.TxFrameType = FDCAN_DATA_FRAME;
  pedalTxHeader.IdType = FDCAN_STANDARD_ID;
  pedalTxHeader.DataLength = FDCAN_DLC_BYTES_8;
  pedalTxHeader.FDFormat = FDCAN_CLASSIC_CAN;
  pedalTxHeader.BitRateSwitch = FDCAN_BRS_OFF;
  pedalTxHeader.ErrorStateIndicator = FDCAN_ESI_ACTIVE;
  pedalTxHeader.TxEventFifoControl = FDCAN_NO_TX_EVENTS;
  pedalTxHeader.MessageMarker = 0;

  /* Infinite loop */
  for(;;)
  {

#ifdef TEST_MODE
      inputPedalVoltage = testPedalVoltage;
#else
	  //	UBaseType_t highWaterMark;

	  	HAL_ADC_Start(&hadc1); // Starts ADC1 on STM32
	  //	HAL_ADC_PollForConversion(&hadc1, 20); // ADC data collected via polling with timeout of 20 units
	  	  if (HAL_ADC_PollForConversion(&hadc1, 20) == HAL_OK)
	  	  {
	  		  inputPedalVoltage = (HAL_ADC_GetValue(&hadc1)) * (3.3 / 65535.0f);

	  //		  sprintf(msg, "Voltage: %hu\r\n", inputPedalVoltage);
	  	  }
#endif
	  	// Will need to think about what to do when pedal voltage is exactly the center voltage. However, this is where deadband may come in
	  	if (inputPedalVoltage > CenterPedalVoltage[0] && inputPedalVoltage <= MaxPedalVoltage[0]) // Checks if the car is trying to accelerate and is not faulted
	  	{
	  		//TxData[0]++; // Increment the first byte

	  		pedalTxHeader.Identifier = CMD_SetRelativeCurrent; // ID the STM is transmitting with

	  		CalculatedValue = ((inputPedalVoltage - CenterPedalVoltage[0]) / (MaxPedalVoltage[0] - CenterPedalVoltage[0])) * 1000;

	  		// Splits 16 bit calculated value into two separate bytes. This is because the MC expects a 2 byte long data frame
	  		// Shifting order is because of Big Endian format on MC
	  		// 0xFF used to explicitly select the correct bits to be sent.

	  		TxData[0] = (CalculatedValue >> 8) & 0xFF;   // 0x00
	  		TxData[1] = CalculatedValue & 0xFF;          // 0xc8

	  	}
	  	else if (inputPedalVoltage < CenterPedalVoltage[0] && inputPedalVoltage >= MinPedalVoltage[0]) // Checks if the car is braking and is not faulted
	  	{
	  		pedalTxHeader.Identifier = CMD_SetRelativeBrakeCurrent; // ID the STM is transmitting with

	  		CalculatedValue = ((inputPedalVoltage - MinPedalVoltage[0]) / (CenterPedalVoltage[0] - MinPedalVoltage[0])) * 1000;

	  		TxData[0] = (CalculatedValue >> 8) & 0xFF;   // 0x00; Shifts the value to the right by 1 byte, allowing only 0s to be read with masking
	  		TxData[1] = CalculatedValue & 0xFF;          // 0xc8; Only reads the actual value
	  	}
	  	else
	  	{
	  		pedalTxHeader.Identifier = 0x111;

	  		TxData[0] = 0xFF;   // 0x00
	  		TxData[1] = 0xFF;
	  	}

  		txFreeLevel = HAL_FDCAN_GetTxFifoFreeLevel(&hfdcan1); // returns 0 -> FIFO is Full
  		fdcanError = hfdcan1.ErrorCode; // Returns 32 = 0x20 -> FIFO is Full

	  	while ((status = HAL_FDCAN_AddMessageToTxFifoQ(&hfdcan1, &pedalTxHeader, TxData)) != HAL_OK) // Wait till a Tx mailbox is free.
	  	{
//	  		txFreeLevel = HAL_FDCAN_GetTxFifoFreeLevel(&hfdcan1); // returns 0 -> FIFO is Full
//	  		fdcanError = hfdcan1.ErrorCode; // Returns 32 = 0x20 -> FIFO is Full
	  		BSP_LED_Toggle(LED_YELLOW);
	  		osDelay(50); // Give back control to scheduler for 1ms
//	  		Error_Handler();

	  	}

	  //	highWaterMark = uxTaskGetStackHighWaterMark(NULL);
	  //
	  //	printf("Unused stack: %lu words\r\n", (uint32_t)highWaterMark); // Prints how much space a task is not using

	    osDelay(20); // Without delay the Tx Mailbox reaches an error, most likely it fills up to quick. Needs to be checked to confirm
  }
  /* USER CODE END 5 */
}

void StartCANWatchdog(void *argument)
{
  /* USER CODE BEGIN StartCANWatchdog */
  /* Infinite loop */
  for(;;)
  {
    temError = lastMessageSent(lastTemMessage);
    amsError = lastMessageSent(lastAmsMessage);
    mcError = lastMessageSent(lastMcMessage);

    if (isCharging){
      chargerError = lastMessageSent(lastChargerMessage);
    } else {
      chargerError = 0;
    }

    if (temError || amsError || mcError || chargerError){
      BSP_LED_On(LED_RED);
      BSP_LED_Off(LED_GREEN);

      // Displays to the console any errors
	    if(DISPLAY_CAN_ERRORS){
//			  if(heartBeatError)
//			  {
//				  printf("Heartbeat message not received within 500ms.\r\n");
//				  fflush(stdout);
//			  }
        if(temError)
        {
          printf("TEM message not received within 500ms.\r\n");
          fflush(stdout);
        }
        if(amsError)
        {
          printf("AMS message not received within 500ms.\r\n");
          fflush(stdout);
        }
        if(mcError)
        {
          printf("MC message not received within 500ms.\r\n");
          fflush(stdout);
        }
        if(chargerError)
        {
          printf("Charger message not received within 500ms.\r\n");
          fflush(stdout);
        }
	    }
    } else {
      BSP_LED_Off(LED_RED);
      BSP_LED_On(LED_GREEN);
    }

    osDelay(100);
// the following watchdog relies on receiving messages from osMessageQueueGet()
// if nothing arrives (i.e., all ECUs are dead) it will stop functioning
/*
	 queueCount = osMessageQueueGetCount(CANRxQueueHandle);
	 queueSpace = osMessageQueueGetSpace(CANRxQueueHandle);

	 CANRxMessage CANmsg;
	 osMessageQueueGet(CANRxQueueHandle, &CANmsg, NULL, osWaitForever); // Gets and removes item from CANRx queue; puts task in blocked state if queue is full

	 queueBufferRecieved = CANmsg;
	 // Throw a lil delay to let the CAN message go thru
//	 osDelay(50);
	 packet = CANmsg.id & 0xFF;
	    // Based on the CAN ID, determines what ECU sent the message, and update the time that
	    // the ECU sent it's message, as well as resetting any error
	     switch(CANmsg.id)
	     {
	     	// CAN Heartbeat message
	 //        case 0x023:
	 //            lastHeartBeatMessage = HAL_GetTick();
	 //            heartBeatError = 0;
	 //            break;

	         // TEM Message
	         case 0x080:
	         	lastTemMessage = lastMessage;
	 			temError = 0;
	 			break;

	 		// AMS Message
	         case 0x7E3:
	         	lastAmsMessage = lastMessage;
	 			amsError = 0;

	 			// Check to see if charging
	 			if(RxData[0] == 0xFF){
	 				isCharging = 1;
	 				if(DISPLAY_CAN_ERRORS){
	 					if(RxData[1] != 0x00){
	 						printf("AMS CAN Charging Message is Corrupt.\r\n");
	 						fflush(stdout);
	 					}
	 				}
	 			}
	 			else if(RxData[0] == 0x00){
	 				isCharging = 0;
	 				if(DISPLAY_CAN_ERRORS){
	 					if(RxData[1] != 0xFF){
	 						printf("AMS CAN Charging Message is Corrupt.\r\n");
	 						fflush(stdout);
	 					}
	 				}
	 			}
	 			break;

	 		// MC Message
	         case 0x41A: // 0x41A -> 0x1F MC message; Using node ID 58, 0x41A - 0x3A (58 in decimal) = 0x3E0 -> 0x3E0 >> 5 = 31 in decimal = 0x1F
	         	lastMcMessage = lastMessage;
	 			mcError = 0;
	 			break;

	 		// Charger Message - UPDATE
	 		case 0x18FF50E5:
	 			lastChargerMessage = lastMessage;
	 			chargerError = 0;
	 			break;

	     }

	 // Check if each message has been received over the past half second
//	 heartBeatError = lastMessageSent(lastHeartBeatMessage);
	 temError = lastMessageSent(lastTemMessage);
	 amsError = lastMessageSent(lastAmsMessage);
	 mcError = lastMessageSent(lastMcMessage);

	 // If charging enabled, also check for charger
	 if(isCharging)
	 {
		 chargerError = lastMessageSent(lastChargerMessage);
	 }
	 else{
		 chargerError = 0;
	 }

	 // If any of the error flags are high, Shut the relay down
	 if(temError + amsError + mcError + chargerError)
	 {
		 BSP_LED_On(LED_RED); // This turns the LED on
		 BSP_LED_Off(LED_GREEN);
//		 HAL_GPIO_WritePin(GPIOB, GPIO_PIN_7, GPIO_PIN_RESET); // This turns the LED on
//		 HAL_GPIO_WritePin(GPIOC, GPIO_PIN_3, GPIO_PIN_RESET);

		 // Displays to the console any errors
		 if(DISPLAY_CAN_ERRORS)
		 {
//			 if(heartBeatError)
//			 {
//				 printf("Heartbeat message not received within 500ms.\r\n");
//				 fflush(stdout);
//			 }
			 if(temError)
			 {
				 printf("TEM message not received within 500ms.\r\n");
				 fflush(stdout);
			 }
			 if(amsError)
			 {
				 printf("AMS message not received within 500ms.\r\n");
				 fflush(stdout);
			 }
			 if(mcError)
			 {
				 printf("MC message not received within 500ms.\r\n");
				 fflush(stdout);
			 }
			 if(chargerError)
			 {
				 printf("Charger message not received within 500ms.\r\n");
				 fflush(stdout);
		 	 }
	 	 }
	 }
	 else
	 {
//		 HAL_GPIO_WritePin(GPIOB, GPIO_PIN_7, GPIO_PIN_RESET); // This turns the LED off
//		 HAL_GPIO_WritePin(GPIOC, GPIO_PIN_3, GPIO_PIN_RESET);

		 BSP_LED_Off(LED_RED);
		 BSP_LED_On(LED_GREEN);
   	 }

//    osDelay(20);
*/
  }
  /* USER CODE END StartCANWatchdog */
}

void StartAPPSCalibration(void *argument)
{
  /* USER CODE BEGIN StartAPPSCalibration */
//	float recordedVoltages[10]; // Buffer of all the pedal input voltages read so far
//	uint8_t voltageIndex = 0; // Index on the recordedVoltages variable
//	BSP_LED_On(LED_RED);
	printf("APPS Calibration Started \r\n");
	osThreadSuspend(APPSCalibrationHandle); // Suspends APPS calibration task
//	printf("APPS Calibration Started");

  /* Infinite loop */
  for(;;)
  {
	// Task should be suspended if the motor is spinning
//	  BSP_LED_Toggle(LED_YELLOW);
	  HAL_ADC_Start(&hadc1); // Starts ADC1 on STM32

	  if (HAL_ADC_PollForConversion(&hadc1, 20) == HAL_OK)
	  {
		  inputPedalVoltage = (HAL_ADC_GetValue(&hadc1)) * (3.3 / 65535);
//		  BSP_LED_Toggle(LED_YELLOW);

	  }
	  else
	  {
		  BSP_LED_Toggle(LED_RED);
	  }

	  if (inputPedalVoltage > MaxPedalVoltage[0])
	  {
		  MaxPedalVoltage[0] = inputPedalVoltage;
	  }
	  else if (inputPedalVoltage < MinPedalVoltage[0])
	  {
		MinPedalVoltage[0] = inputPedalVoltage;
	  }
	  // printf("Max Pedal Voltage: %.3f ", MaxPedalVoltage[0]);
	  // printf("Min Pedal Voltage: %.3f ", MinPedalVoltage[0]);
	  printf("Reading Pedal Voltage... \r\n");

    osDelay(300);
  }
  /* USER CODE END StartAPPSCalibration */
}

void StartTestCANSend(void *argument)
{
  /* USER CODE BEGIN StartTestCANSend */
  /* Infinite loop */
  for(;;)
  {

	 // Tells HAL to enable reception via interrupt
	 HAL_UART_Receive_IT(&hcom_uart[COM1], &serialByte, 1);  // Receives 1 byte of data and triggers interrupt

	  // Send placeholder CAN messages
	 CAN_Send(0x080, WatchDogTxData, 8); // TEM message
//	 osDelay(50);
	 CAN_Send(0x7E3, WatchDogTxData, 8); // AMS message
//	 osDelay(50);
//	 CAN_Send(0x41A, WatchDogTxData, 8); // MC message

	 CAN_Send(RCV_MC_GeneralData, WatchDogTxData, 8); // General MC data

	 osDelay(50);
  }
  /* USER CODE END StartTestCANSend */
}

void StartDataDisplay(void *argument)
{
  /* USER CODE BEGIN StartDataDisplay */
  /* Infinite loop */
  for(;;)
  {

    CANRxMessage CANPrintmsg;
    osMessageQueueGet(DisplayDataQueueHandle, &CANPrintmsg, NULL, osWaitForever); // Pull data from DisplayData queue

	// Display the CAN message to the serial monitor
	if(DISPLAY_CAN_MESSAGE){

		// Change Print syntax based on standard vs. extended
		if (CANPrintmsg.idType == FDCAN_STANDARD_ID){
			printf("RX STD ID: 0x%03lX | Data:", CANPrintmsg.id);
		}
		else{
			printf("RX EXT ID: 0x%08lX | Data:", CANPrintmsg.id);
		}

		for (int i = 0; i < CANPrintmsg.dataLength; i++)
			printf(" %02X", CANPrintmsg.data[i]);

		printf("\r\n");
//		osDelay(50);

	}
	else
	{
		osThreadSuspend(DataDisplayHandle); // Suspends the DataDisplay task
	}
  }
  /* USER CODE END StartDataDisplay */
}

void StartCommands(void *argument)
{
  /* USER CODE BEGIN StartCommands */
  /* Infinite loop */
  for(;;)
  {

	switch(serialByte) // Reads values as ascii characters; numbers need to be converted to char type before checking
	{
		case 'a':
		{
//			osThreadSuspend(DataDisplayHandle);
			DISPLAY_CAN_MESSAGE = 0;
			break;
		}
		case 'd':
		{
//			osThreadResume(DataDisplayHandle);
			DISPLAY_CAN_MESSAGE = 1;
			osThreadResume(DataDisplayHandle);
			break;
		}
		case 'c': // Begin pedal calibration
		{
			if (currentState == MOTOR_SPINNING) // Don't allow calibration to begin if the motor is still rotating
			{
				break;
			}

			DISPLAY_CAN_MESSAGE = 0;
			printf("Starting Pedal Calibration... \r\n");
			status3 = osThreadSuspend(PedalControlHandle); // Suspends pedal control task

//			osDelay(50);

      // start at the opposite end and calibrate towards the desired end
      // 0.0 --up--> max
      // 3.3 -down-> min
			MaxPedalVoltage[0] = 0.0f;
			MinPedalVoltage[0] = 3.3f;

			printf("Click enter to complete calibration \r\n");
			osThreadResume(APPSCalibrationHandle); // Resumes APPS calibration task

			break; // Without break, other cases below will all execute until a break statement occurs
		}
		case 'x': // Space bar is clicked; end pedal calibration
		{
			osThreadSuspend(APPSCalibrationHandle);
			printf("Ending Pedal Calibration...");
			DISPLAY_CAN_MESSAGE = 1;
			osThreadResume(PedalControlHandle);

//			osThreadResume(DataDisplayHandle);
			break;
		}
//		case 't': // Toggles display variable for displaying CAN messages
//		{
//			toggleCANRx = !toggleCANRx; // toggles the value of toggleCANRx; 0 -> 1, 1 -> 0
//			break;
//		}

		default: break;
	}
	serialByte = 0;

   osDelay(200);
  }
  /* USER CODE END StartCommands */
}

void StartReadingCANRX(void *argument)
{
  /* USER CODE BEGIN StartReadingCANRX */
  /* Infinite loop */
  for(;;)
  {
//	CANRxMessage readCAN;
//	osMessageQueueGet(processCANHandle, &readCAN, NULL, osWaitForever); // Gets and removes item from CANRx queue; puts task in blocked state if queue is full
//
//	if((readCAN.id & 0xFF) == MC_NodeId) // Checks if an MC message was received
//	{
//		// Relevant MC messages
//		switch(readCAN.id >> 5) // Need to get this to be the
//		{
//			case 0x20: // General MC message
//			{
//				BSP_LED_Toggle(LED_YELLOW);
//				break;
//			}
//			default:
//				break;
//		}
//	}

    osDelay(1);
  }
  /* USER CODE END StartReadingCANRX */
}

 /* MPU Configuration */

void MPU_Config(void)
{
  MPU_Region_InitTypeDef MPU_InitStruct = {0};

  /* Disables the MPU */
  HAL_MPU_Disable();

  /** Initializes and configures the Region and the memory to be protected
  */
  MPU_InitStruct.Enable = MPU_REGION_ENABLE;
  MPU_InitStruct.Number = MPU_REGION_NUMBER0;
  MPU_InitStruct.BaseAddress = 0x0;
  MPU_InitStruct.Size = MPU_REGION_SIZE_4GB;
  MPU_InitStruct.SubRegionDisable = 0x87;
  MPU_InitStruct.TypeExtField = MPU_TEX_LEVEL0;
  MPU_InitStruct.AccessPermission = MPU_REGION_NO_ACCESS;
  MPU_InitStruct.DisableExec = MPU_INSTRUCTION_ACCESS_DISABLE;
  MPU_InitStruct.IsShareable = MPU_ACCESS_SHAREABLE;
  MPU_InitStruct.IsCacheable = MPU_ACCESS_NOT_CACHEABLE;
  MPU_InitStruct.IsBufferable = MPU_ACCESS_NOT_BUFFERABLE;

  HAL_MPU_ConfigRegion(&MPU_InitStruct);
  /* Enables the MPU */
  HAL_MPU_Enable(MPU_PRIVILEGED_DEFAULT);

}

void HAL_TIM_PeriodElapsedCallback(TIM_HandleTypeDef *htim)
{
  if (htim->Instance == TIM6)
  {
    HAL_IncTick();
  }
}

void Error_Handler(void)
{
  __disable_irq();
  while (1)
  {
  }
}
